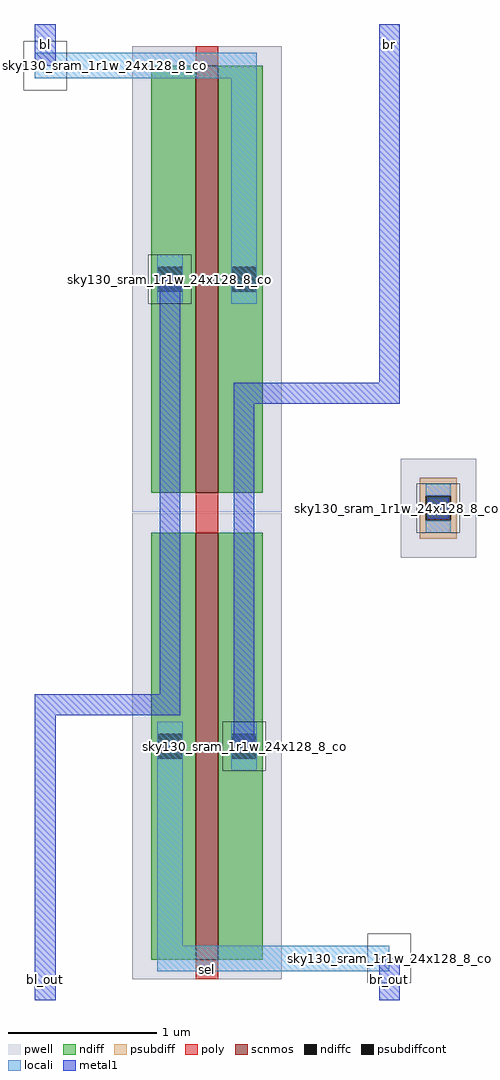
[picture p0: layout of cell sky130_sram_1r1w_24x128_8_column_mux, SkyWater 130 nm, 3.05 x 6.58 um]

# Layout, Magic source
magic
tech sky130B
magscale 1 2
<< poly >>
rect 297 630 327 684
rect 297 28 327 54
<< locali >>
rect 80 1243 379 1277
rect 345 972 379 1243
rect 245 73 279 342
rect 245 39 558 73
<< metal1 >>
rect 80 1260 108 1316
rect 248 412 276 972
rect 544 832 572 1316
rect 80 384 276 412
rect 348 804 572 832
rect 80 0 108 384
rect 348 342 376 804
rect 610 649 638 677
rect 544 0 572 56
use sky130_sram_1r1w_24x128_8_contact_13  sky130_sram_1r1w_24x128_8_contact_13_0
transform 1 0 595 0 1 630
box 0 0 58 66
use sky130_sram_1r1w_24x128_8_contact_13  sky130_sram_1r1w_24x128_8_contact_13_1
transform 1 0 333 0 1 309
box 0 0 58 66
use sky130_sram_1r1w_24x128_8_contact_13  sky130_sram_1r1w_24x128_8_contact_13_2
transform 1 0 233 0 1 939
box 0 0 58 66
use sky130_sram_1r1w_24x128_8_contact_13  sky130_sram_1r1w_24x128_8_contact_13_3
transform 1 0 529 0 1 23
box 0 0 58 66
use sky130_sram_1r1w_24x128_8_contact_13  sky130_sram_1r1w_24x128_8_contact_13_4
transform 1 0 65 0 1 1227
box 0 0 58 66
use sky130_sram_1r1w_24x128_8_contact_14  sky130_sram_1r1w_24x128_8_contact_14_0
transform 1 0 599 0 1 622
box -26 -26 76 108
use sky130_sram_1r1w_24x128_8_nmos_m1_w2_880_sli_dli  sky130_sram_1r1w_24x128_8_nmos_m1_w2_880_sli_dli_0
transform 1 0 237 0 1 684
box -26 -26 176 602
use sky130_sram_1r1w_24x128_8_nmos_m1_w2_880_sli_dli  sky130_sram_1r1w_24x128_8_nmos_m1_w2_880_sli_dli_1
transform 1 0 237 0 1 54
box -26 -26 176 602
<< labels >>
rlabel poly s 312 41 312 41 4 sel
port 1 nsew
rlabel metal1 s 80 1260 108 1316 4 bl
port 2 nsew
rlabel metal1 s 544 1260 572 1316 4 br
port 3 nsew
rlabel metal1 s 80 0 108 56 4 bl_out
port 4 nsew
rlabel metal1 s 544 0 572 56 4 br_out
port 5 nsew
rlabel metal1 s 610 649 638 677 4 gnd
port 6 nsew
<< properties >>
string FIXED_BBOX 0 0 624 1316
<< end >>

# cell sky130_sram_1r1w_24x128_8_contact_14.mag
magic
tech sky130B
<< pwell >>
rect -13 -13 38 54
<< psubdiff >>
rect 0 29 25 41
rect 0 12 4 29
rect 21 12 25 29
rect 0 0 25 12
<< psubdiffcont >>
rect 4 12 21 29
<< locali >>
rect 4 29 21 37
rect 4 4 21 12
<< properties >>
string FIXED_BBOX -12 -12 37 53
<< end >>

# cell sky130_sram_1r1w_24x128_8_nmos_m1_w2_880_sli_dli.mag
magic
tech sky130B
magscale 1 2
<< pwell >>
rect -26 -26 176 602
<< scnmos >>
rect 60 0 90 576
<< ndiff >>
rect 0 0 60 576
rect 90 0 150 576
<< poly >>
rect 60 576 90 602
rect 60 -26 90 0
<< locali >>
rect 8 255 42 321
rect 108 255 142 321
use sky130_sram_1r1w_24x128_8_contact_10  sky130_sram_1r1w_24x128_8_contact_10_0
transform 1 0 100 0 1 255
box -26 -22 76 88
use sky130_sram_1r1w_24x128_8_contact_10  sky130_sram_1r1w_24x128_8_contact_10_1
transform 1 0 0 0 1 255
box -26 -22 76 88
<< labels >>
rlabel poly s 75 288 75 288 4 G
port 1 nsew
rlabel locali s 25 288 25 288 4 S
port 2 nsew
rlabel locali s 125 288 125 288 4 D
port 3 nsew
<< properties >>
string FIXED_BBOX -25 -26 175 602
<< end >>

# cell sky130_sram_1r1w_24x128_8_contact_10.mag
magic
tech sky130B
<< pwell >>
rect -13 -11 38 44
<< ndiff >>
rect 0 25 25 31
rect 0 8 4 25
rect 21 8 25 25
rect 0 2 25 8
<< ndiffc >>
rect 4 8 21 25
<< locali >>
rect 4 25 21 33
rect 4 0 21 8
<< properties >>
string FIXED_BBOX -12 -10 37 43
<< end >>
